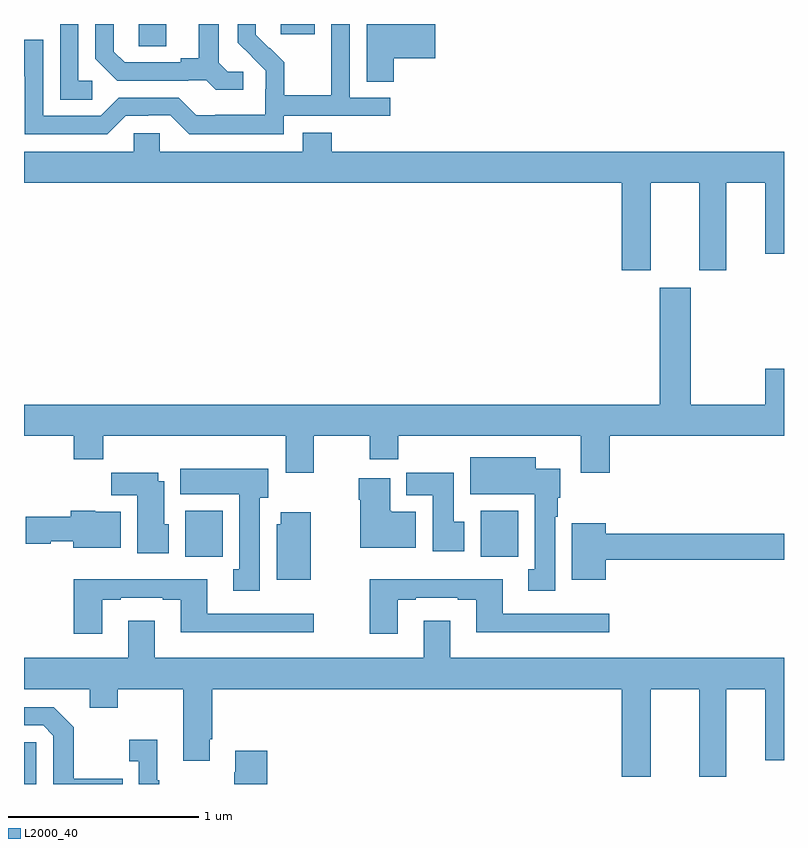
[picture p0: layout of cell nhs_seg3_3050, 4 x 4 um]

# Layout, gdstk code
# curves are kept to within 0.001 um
import gdstk
lib = gdstk.Library(unit=1e-6, precision=1e-09)
def R(c, l, rs):  # rectangles x0, y0, x1, y1
    for r in rs: c.add(gdstk.rectangle(r[:2], r[2:], *l))
def P(c, l, *ps):  # polygons
    for p in ps: c.add(gdstk.Polygon(p, *l))
L2000_40 = (2000, 40)

nhs_seg3_3050 = lib.new_cell('nhs_seg3_3050')
R(nhs_seg3_3050, L2000_40, [(269,716.4,269.064,716.619), (269.849,717.596,270.046,717.838), (271.403,717.596,271.6,717.838), (269.604,720.283,269.749,720.4), (270.35,720.345,270.529,720.4)])
P(nhs_seg3_3050, L2000_40, [(270.947,720.221),(271.165,720.221),(271.165,720.4),(270.803,720.4),(270.803,720.097),(270.947,720.097)],
  [(270.366,719.916),(270.928,719.916),(270.928,720.012),(270.714,720.012),(270.714,720.4),(270.618,720.4),(270.618,720.248),(270.616,720.248),(270.616,720.025),(270.371,720.025),(270.371,720.199),(270.294,720.276),(270.291,720.273),(270.221,720.344),(270.221,720.4),(270.126,720.4),(270.126,720.302),(270.272,720.154),(270.272,720.057),(270.27,720.057),(270.27,719.923),(270.007,719.923),(270.007,719.919),(269.907,719.919),(269.814,720.012),(269.499,720.012),(269.403,719.916),(269.1,719.916),(269.1,720.318),(269,720.318),(269,720.125),(269.004,720.125),(269.004,719.82),(269.439,719.82),(269.535,719.916),(269.654,719.916),(269.654,719.919),(269.769,719.919),(269.869,719.819),(270.366,719.819)],
  [(269.359,720.102),(269.286,720.102),(269.286,720.4),(269.19,720.4),(269.19,720.001),(269.359,720.001)],
  [(270.154,720.15),(270.072,720.15),(270.025,720.197),(270.025,720.4),(269.921,720.4),(269.921,720.221),(269.825,720.221),(269.825,720.198),(269.53,720.198),(269.473,720.255),(269.473,720.4),(269.376,720.4),(269.376,720.218),(269.492,720.102),(269.864,720.102),(269.864,720.105),(269.958,720.105),(270.01,720.053),(270.154,720.053)],
  [(270.62,719.827),(270.467,719.827),(270.467,719.728),(269.715,719.728),(269.715,719.826),(269.577,719.826),(269.577,719.728),(269,719.728),(269,719.564),(272.147,719.564),(272.147,719.103),(272.299,719.103),(272.299,719.564),(272.555,719.564),(272.555,719.103),(272.695,719.103),(272.695,719.564),(272.9,719.564),(272.9,719.19),(273,719.19),(273,719.728),(270.62,719.728)],
  [(270.525,718.232),(270.82,718.232),(270.82,718.108),(270.971,718.108),(270.971,718.232),(271.931,718.232),(271.931,718.038),(272.084,718.038),(272.084,718.232),(273,718.232),(273,718.585),(272.9,718.585),(272.9,718.396),(272.509,718.396),(272.509,719.011),(272.345,719.011),(272.345,718.396),(269,718.396),(269,718.232),(269.261,718.232),(269.261,718.108),(269.417,718.108),(269.417,718.232),(270.377,718.232),(270.377,718.038),(270.525,718.038)],
  [(271.795,717.806),(271.81,717.806),(271.81,717.906),(271.822,717.906),(271.822,718.06),(271.693,718.06),(271.693,718.12),(271.349,718.12),(271.349,717.926),(271.688,717.926),(271.688,717.53),(271.655,717.53),(271.655,717.417),(271.795,717.417)],
  [(270.241,717.906),(270.286,717.906),(270.286,718.06),(269.822,718.06),(269.822,717.926),(270.134,717.926),(270.134,717.53),(270.101,717.53),(270.101,717.417),(270.241,717.417)],
  [(269.761,717.768),(269.737,717.768),(269.737,717.994),(269.707,717.994),(269.707,718.039),(269.458,718.039),(269.458,717.92),(269.597,717.92),(269.597,717.614),(269.761,717.614)],
  [(271.318,717.78),(271.261,717.78),(271.261,718.038),(271.013,718.038),(271.013,717.92),(271.151,717.92),(271.151,717.624),(271.318,717.624)],
  [(271.063,717.832),(270.934,717.832),(270.934,717.838),(270.928,717.838),(270.928,718.009),(270.763,718.009),(270.763,717.896),(270.77,717.896),(270.77,717.644),(271.063,717.644)],
  [(269.509,717.832),(269.376,717.832),(269.376,717.838),(269.246,717.838),(269.246,717.807),(269.01,717.807),(269.01,717.665),(269.142,717.665),(269.142,717.677),(269.258,717.677),(269.258,717.644),(269.509,717.644)],
  [(270.508,717.829),(270.35,717.829),(270.35,717.768),(270.329,717.768),(270.329,717.476),(270.508,717.476)],
  [(272.062,717.58),(273,717.58),(273,717.716),(272.062,717.716),(272.062,717.772),(271.883,717.772),(271.883,717.476),(272.062,717.476)],
  [(270.967,717.369),(271.063,717.369),(271.063,717.381),(271.283,717.381),(271.283,717.369),(271.379,717.369),(271.379,717.2),(272.08,717.2),(272.08,717.297),(271.519,717.297),(271.519,717.478),(270.82,717.478),(270.82,717.192),(270.967,717.192)],
  [(269.413,717.369),(269.509,717.369),(269.509,717.381),(269.729,717.381),(269.729,717.369),(269.825,717.369),(269.825,717.2),(270.526,717.2),(270.526,717.297),(269.965,717.297),(269.965,717.478),(269.261,717.478),(269.261,717.192),(269.413,717.192)],
  [(272.299,716.9),(272.555,716.9),(272.555,716.439),(272.695,716.439),(272.695,716.9),(272.9,716.9),(272.9,716.526),(273,716.526),(273,717.064),(271.243,717.064),(271.243,717.259),(271.103,717.259),(271.103,717.064),(269.689,717.064),(269.689,717.259),(269.549,717.259),(269.549,717.064),(269,717.064),(269,716.9),(269.345,716.9),(269.345,716.801),(269.493,716.801),(269.493,716.9),(269.837,716.9),(269.837,716.523),(269.977,716.523),(269.977,716.635),(269.99,716.635),(269.99,716.9),(272.147,716.9),(272.147,716.439),(272.299,716.439)],
  [(269.519,716.427),(269.263,716.427),(269.263,716.699),(269.157,716.805),(269,716.805),(269,716.709),(269.1,716.709),(269.154,716.655),(269.154,716.4),(269.519,716.4)],
  [(269.713,716.419),(269.701,716.419),(269.701,716.632),(269.553,716.632),(269.553,716.519),(269.604,716.519),(269.604,716.4),(269.713,716.4)],
  [(270.281,716.575),(270.113,716.575),(270.113,716.462),(270.106,716.462),(270.106,716.4),(270.281,716.4)])

lib.write_gds('nhs_seg3_3050.gds')
